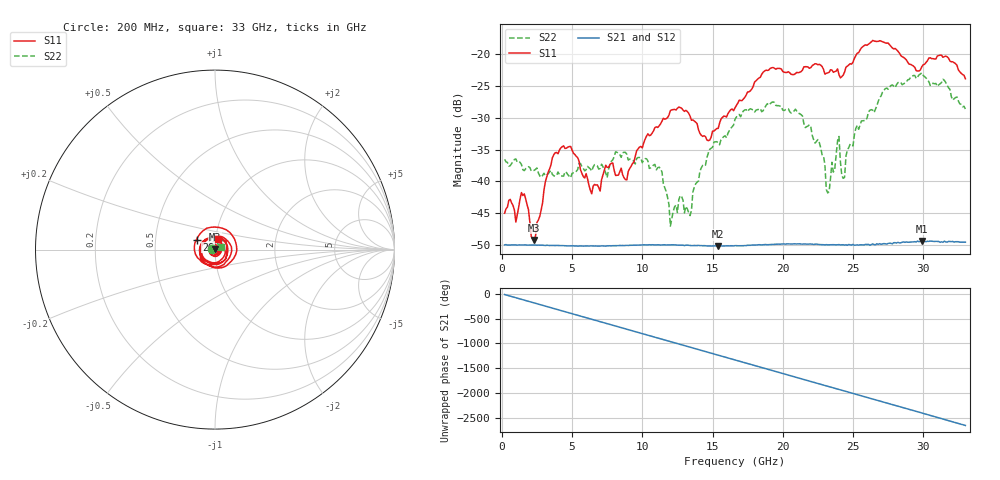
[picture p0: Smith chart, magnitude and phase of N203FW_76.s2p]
# GHZ S RI R 50
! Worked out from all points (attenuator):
!   329 points, 200 MHz to 33 GHz, reference 50 ohm
!   highest |S21| = -49.33 dB at 29.9 GHz (marker M1); lowest = -50.2 dB at 15.4 GHz (marker M2)
!   lowest |S11| = -49.2 dB at 2.3 GHz (marker M3), VSWR 1.01, Z = 50.1 + j0.338 ohm
!   |S11| at or under -10 dB: start of sweep to end of sweep
!   |S22| runs from -47.0 to -22.9 dB; largest |S21 - S12| = 8.8e-05
!   S11 on the Smith chart (normalised r, x): 200 MHz: 1.01, +0.00; 26 GHz: 0.81, +0.09; 33 GHz: 1.03, +0.13
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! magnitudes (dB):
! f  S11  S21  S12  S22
! 200 MHz  -45.0  -49.9  -49.9  -36.5
! 1.6 GHz  -42.0  -50.0  -50.0  -38.3
! 2.3 GHz  -49.2  -50.0  -50.0  -38.3
! 3.8 GHz  -35.5  -50.1  -50.0  -39.2
! 5.7 GHz  -38.7  -50.1  -50.1  -37.7
! 8.9 GHz  -39.7  -50.0  -50.0  -35.7
! 11.2 GHz  -31.3  -50.0  -49.9  -37.8
! 12 GHz  -28.9  -49.9  -49.9  -47.0
! 12.7 GHz  -28.4  -50.0  -50.0  -42.2
! 13.4 GHz  -29.7  -50.0  -50.0  -45.4
! 15.4 GHz  -31.7  -50.2  -50.1  -33.9
! 16.6 GHz  -28.4  -50.1  -50.1  -30.2
! 19.3 GHz  -22.1  -49.9  -49.9  -27.5
! 22.1 GHz  -21.8  -49.8  -49.8  -32.8
! 22.9 GHz  -22.4  -49.9  -49.9  -36.0
! 23.2 GHz  -23.0  -49.9  -49.9  -41.8
! 24 GHz  -23.2  -49.9  -49.9  -32.9
! 24.3 GHz  -23.3  -49.9  -49.9  -39.5
! 26 GHz  -18.6  -49.9  -49.9  -30.0
! 27.6 GHz  -18.5  -49.7  -49.7  -25.2
! 29.9 GHz  -22.0  -49.3  -49.5  -22.9
! 33 GHz  -23.9  -49.5  -49.6  -28.6
